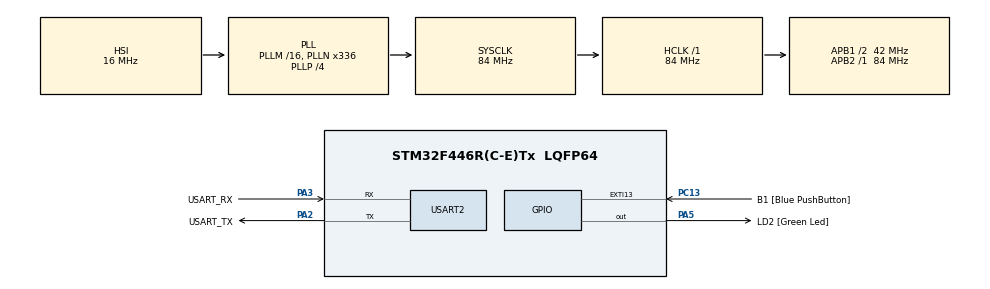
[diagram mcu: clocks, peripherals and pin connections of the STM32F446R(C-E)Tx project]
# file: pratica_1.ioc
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Mcu.Family=STM32F4
Mcu.Name=STM32F446R(C-E)Tx
Mcu.Package=LQFP64
NVIC.PriorityGroup=NVIC_PRIORITYGROUP_0
PA13.GPIO_Label=TMS
PA13.Mode=Serial_Wire
PA13.Signal=SYS_JTMS-SWDIO
PA14.GPIO_Label=TCK
PA14.Mode=Serial_Wire
PA14.Signal=SYS_JTCK-SWCLK
PA2.GPIO_Label=USART_TX
PA2.Mode=Asynchronous
PA2.Signal=USART2_TX
PA3.GPIO_Label=USART_RX
PA3.Mode=Asynchronous
PA3.Signal=USART2_RX
PA5.GPIO_Label=LD2 [Green Led]
PA5.Signal=GPIO_Output
PB3.GPIO_Label=SWO
PB3.Signal=SYS_JTDO-SWO
PC13.GPIO_Label=B1 [Blue PushButton]
PC13.GPIO_ModeDefaultEXTI=GPIO_MODE_IT_FALLING
PC13.Signal=GPXTI13
PC14-OSC32_IN.Mode=LSE-External-Oscillator
PC14-OSC32_IN.Signal=RCC_OSC32_IN
PC15-OSC32_OUT.Mode=LSE-External-Oscillator
PC15-OSC32_OUT.Signal=RCC_OSC32_OUT
PH0-OSC_IN.Mode=HSE-External-Oscillator
PH0-OSC_IN.Signal=RCC_OSC_IN
PH1-OSC_OUT.Mode=HSE-External-Oscillator
PH1-OSC_OUT.Signal=RCC_OSC_OUT
ProjectManager.HeapSize=0x200
ProjectManager.StackSize=0x400
ProjectManager.TargetToolchain=STM32CubeIDE
RCC.48MHZClocksFreq_Value=84000000
RCC.AHBFreq_Value=84000000
RCC.APB1CLKDivider=RCC_HCLK_DIV2
RCC.APB1Freq_Value=42000000
RCC.APB1TimFreq_Value=84000000
RCC.APB2Freq_Value=84000000
RCC.APB2TimFreq_Value=84000000
RCC.CortexFreq_Value=84000000
RCC.FLatency-AdvancedSettings=FLASH_LATENCY_2
RCC.HCLKFreq_Value=84000000
RCC.HSE_VALUE=8000000
RCC.HSI_VALUE=16000000
RCC.PLLN=336
RCC.PLLP=RCC_PLLP_DIV4
RCC.SYSCLKFreq_VALUE=84000000
RCC.SYSCLKSource=RCC_SYSCLKSOURCE_PLLCLK
RCC.USBFreq_Value=168000000
RCC.VCOOutputFreq_Value=336000000
USART2.VirtualMode=VM_ASYNC
board=NUCLEO-F446RE

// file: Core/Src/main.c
/* USER CODE BEGIN Header */
/**
  ******************************************************************************
  * @file           : main.c
  * @brief          : Main program body
  ******************************************************************************
  * @attention
  *
  * Copyright (c) 2025 STMicroelectronics.
  * All rights reserved.
  *
  * This software is licensed under terms that can be found in the LICENSE file
  * in the root directory of this software component.
  * If no LICENSE file comes with this software, it is provided AS-IS.
  *
  ******************************************************************************
  */
/* USER CODE END Header */
#include "main.h"

UART_HandleTypeDef huart2;

void SystemClock_Config(void);
static void MX_GPIO_Init(void);
static void MX_USART2_UART_Init(void);

int main(void)
{

  /* USER CODE BEGIN 1 */

	tick_t tiempo[CANT_TIEMPOS] = {1000, 200, 100};
	uint8_t arraypos = 0;
	uint8_t cantidad_ciclos = 2;
	delay_t delay_no_bloqueante;

  /* USER CODE END 1 */

  /* MCU Configuration--------------------------------------------------------*/

  /* Reset of all peripherals, Initializes the Flash interface and the Systick. */
	HAL_Init();

  /* USER CODE BEGIN Init */
  	 delayInit(&delay_no_bloqueante, tiempo[arraypos]);

  /* USER CODE END Init */

  /* Configure the system clock */
  SystemClock_Config();

  /* Initialize all configured peripherals */
  MX_GPIO_Init();
  MX_USART2_UART_Init();

  /* Infinite loop */
  while (1)
  {

    /* USER CODE BEGIN 3 */

	  if(delayRead(&delay_no_bloqueante)){

		  HAL_GPIO_TogglePin(LD2_GPIO_Port, LD2_Pin);

		  if(cantidad_ciclos == 0) {

			  cantidad_ciclos = 9;
			  arraypos++;

			  if(arraypos >= CANT_TIEMPOS)
				  arraypos = 0;
			  delayWrite(&delay_no_bloqueante, tiempo[arraypos]);
		  } else {

			  cantidad_ciclos--;
		  }
	  }
  }
  /* USER CODE END 3 */
}
/**
 * Función: inicializa el delay no bloqueante.
 * Argumento: puntero a la estructura con las variables, duración del delay.
 */
void delayInit(delay_t * delay, tick_t duration){

	delay->duration = duration;
	delay->running = false;
	return;
}
/**
 * Función: obtengo el estado del delay
 * Argumento: puntero a la estructura con las variables del delay.
 * Devuelve: estado del delay (contando / tiempo cumplido).
 */
bool_t delayRead(delay_t * delay){

	if(!delay->running){

		delay->startTime = HAL_GetTick();
		delay->running = true;
	} else {

		if((HAL_GetTick() - delay->startTime) >= delay->duration){

			delay->running = false;
			return true;
		}
	}
	return false;
}
/**
 * Función: defino un nuevo tiempo de delay.
 * Argumento: puntero a la estructura con las variables del delay, duración del delay.
 */
void delayWrite( delay_t * delay, tick_t duration ){

	delay->duration = duration;
	return;
}

void SystemClock_Config(void)
{
  RCC_OscInitTypeDef RCC_OscInitStruct = {0};
  RCC_ClkInitTypeDef RCC_ClkInitStruct = {0};

  /** Configure the main internal regulator output voltage
  */
  __HAL_RCC_PWR_CLK_ENABLE();
  __HAL_PWR_VOLTAGESCALING_CONFIG(PWR_REGULATOR_VOLTAGE_SCALE3);

  /** Initializes the RCC Oscillators according to the specified parameters
  * in the RCC_OscInitTypeDef structure.
  */
  RCC_OscInitStruct.OscillatorType = RCC_OSCILLATORTYPE_HSI;
  RCC_OscInitStruct.HSIState = RCC_HSI_ON;
  RCC_OscInitStruct.HSICalibrationValue = RCC_HSICALIBRATION_DEFAULT;
  RCC_OscInitStruct.PLL.PLLState = RCC_PLL_ON;
  RCC_OscInitStruct.PLL.PLLSource = RCC_PLLSOURCE_HSI;
  RCC_OscInitStruct.PLL.PLLM = 16;
  RCC_OscInitStruct.PLL.PLLN = 336;
  RCC_OscInitStruct.PLL.PLLP = RCC_PLLP_DIV4;
  RCC_OscInitStruct.PLL.PLLQ = 2;
  RCC_OscInitStruct.PLL.PLLR = 2;
  if (HAL_RCC_OscConfig(&RCC_OscInitStruct) != HAL_OK)
  {
    Error_Handler();
  }

  /** Initializes the CPU, AHB and APB buses clocks
  */
  RCC_ClkInitStruct.ClockType = RCC_CLOCKTYPE_HCLK|RCC_CLOCKTYPE_SYSCLK
                              |RCC_CLOCKTYPE_PCLK1|RCC_CLOCKTYPE_PCLK2;
  RCC_ClkInitStruct.SYSCLKSource = RCC_SYSCLKSOURCE_PLLCLK;
  RCC_ClkInitStruct.AHBCLKDivider = RCC_SYSCLK_DIV1;
  RCC_ClkInitStruct.APB1CLKDivider = RCC_HCLK_DIV2;
  RCC_ClkInitStruct.APB2CLKDivider = RCC_HCLK_DIV1;

  if (HAL_RCC_ClockConfig(&RCC_ClkInitStruct, FLASH_LATENCY_2) != HAL_OK)
  {
    Error_Handler();
  }
}

static void MX_USART2_UART_Init(void)
{

  huart2.Instance = USART2;
  huart2.Init.BaudRate = 115200;
  huart2.Init.WordLength = UART_WORDLENGTH_8B;
  huart2.Init.StopBits = UART_STOPBITS_1;
  huart2.Init.Parity = UART_PARITY_NONE;
  huart2.Init.Mode = UART_MODE_TX_RX;
  huart2.Init.HwFlowCtl = UART_HWCONTROL_NONE;
  huart2.Init.OverSampling = UART_OVERSAMPLING_16;
  if (HAL_UART_Init(&huart2) != HAL_OK)
  {
    Error_Handler();
  }

}

static void MX_GPIO_Init(void)
{
  GPIO_InitTypeDef GPIO_InitStruct = {0};

  /* GPIO Ports Clock Enable */
  __HAL_RCC_GPIOC_CLK_ENABLE();
  __HAL_RCC_GPIOH_CLK_ENABLE();
  __HAL_RCC_GPIOA_CLK_ENABLE();
  __HAL_RCC_GPIOB_CLK_ENABLE();

  /*Configure GPIO pin Output Level */
  HAL_GPIO_WritePin(LD2_GPIO_Port, LD2_Pin, GPIO_PIN_RESET);

  /*Configure GPIO pin : B1_Pin */
  GPIO_InitStruct.Pin = B1_Pin;
  GPIO_InitStruct.Mode = GPIO_MODE_IT_FALLING;
  GPIO_InitStruct.Pull = GPIO_NOPULL;
  HAL_GPIO_Init(B1_GPIO_Port, &GPIO_InitStruct);

  /*Configure GPIO pin : LD2_Pin */
  GPIO_InitStruct.Pin = LD2_Pin;
  GPIO_InitStruct.Mode = GPIO_MODE_OUTPUT_PP;
  GPIO_InitStruct.Pull = GPIO_NOPULL;
  GPIO_InitStruct.Speed = GPIO_SPEED_FREQ_LOW;
  HAL_GPIO_Init(LD2_GPIO_Port, &GPIO_InitStruct);

}

void Error_Handler(void)
{
  __disable_irq();
  while (1)
  {
  }
}
